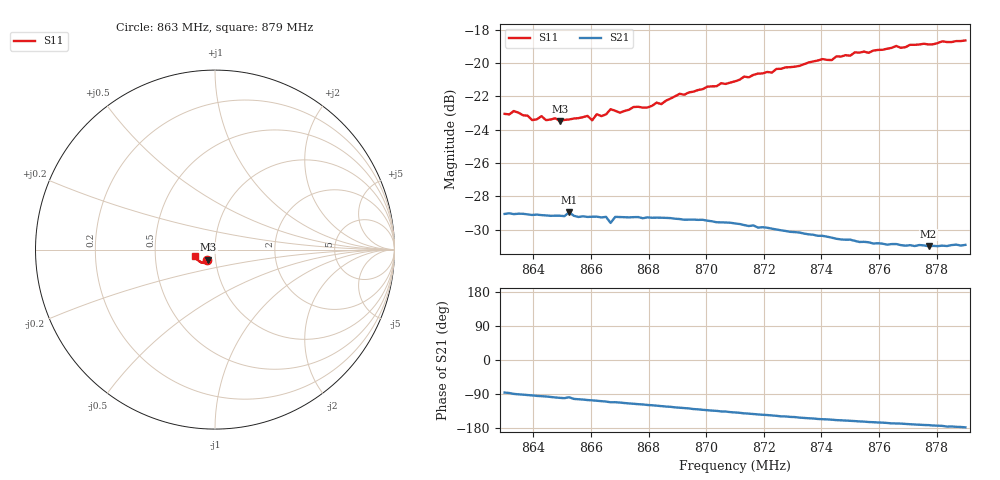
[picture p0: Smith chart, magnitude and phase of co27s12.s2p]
# HZ S RI R 50
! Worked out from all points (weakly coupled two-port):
!   101 points, 863 MHz to 879 MHz, reference 50 ohm
!   highest |S21| = -28.94 dB at 865.24 MHz (marker M1); lowest = -31.0 dB at 877.72 MHz (marker M2)
!   lowest |S11| = -23.5 dB at 864.92 MHz (marker M3), VSWR 1.14, Z = 46.1 - j5.12 ohm
!   |S11| at or under -10 dB: start of sweep to end of sweep
!   S12 and S22 are empty: the file has one direction only
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8.63e8  -0.0426 -0.0561  0.00248 -0.0352  0 0  0 0
8.6332e8  -0.0442 -0.0566  0.000369 -0.0352  0 0  0 0
8.6396e8  -0.0398 -0.0544  -0.00213 -0.035  0 0  0 0
8.6428e8  -0.0397 -0.0568  -0.00333 -0.0348  0 0  0 0
8.6444e8  -0.0389 -0.0551  -0.00382 -0.0347  0 0  0 0
8.6492e8  -0.0378 -0.0553  -0.00602 -0.0343  0 0  0 0
8.6524e8  -0.0332 -0.0591  -0.00517 -0.0353  0 0  0 0
8.6572e8  -0.0357 -0.0589  -0.00862 -0.0336  0 0  0 0
8.6588e8  -0.0358 -0.0595  -0.00932 -0.0333  0 0  0 0
8.6604e8  -0.0345 -0.0579  -0.00985 -0.0332  0 0  0 0
8.662e8  -0.0365 -0.06  -0.0104 -0.033  0 0  0 0
8.6652e8  -0.035 -0.0609  -0.0116 -0.0326  0 0  0 0
8.6668e8  -0.0389 -0.0615  -0.0122 -0.0308  0 0  0 0
8.6684e8  -0.0364 -0.0621  -0.0126 -0.0322  0 0  0 0
8.67e8  -0.0358 -0.0614  -0.0131 -0.0319  0 0  0 0
8.6844e8  -0.0368 -0.0657  -0.0181 -0.0292  0 0  0 0
8.6908e8  -0.0414 -0.0695  -0.02 -0.0276  0 0  0 0
8.71e8  -0.0497 -0.0728  -0.0247 -0.0219  0 0  0 0
8.7372e8  -0.0697 -0.0734  -0.0276 -0.0132  0 0  0 0
8.7644e8  -0.0931 -0.0607  -0.0279 -0.00633  0 0  0 0
8.7772e8  -0.1016 -0.0513  -0.028 -0.00402  0 0  0 0
8.79e8  -0.1106 -0.0382  -0.0285 -0.00115  0 0  0 0
